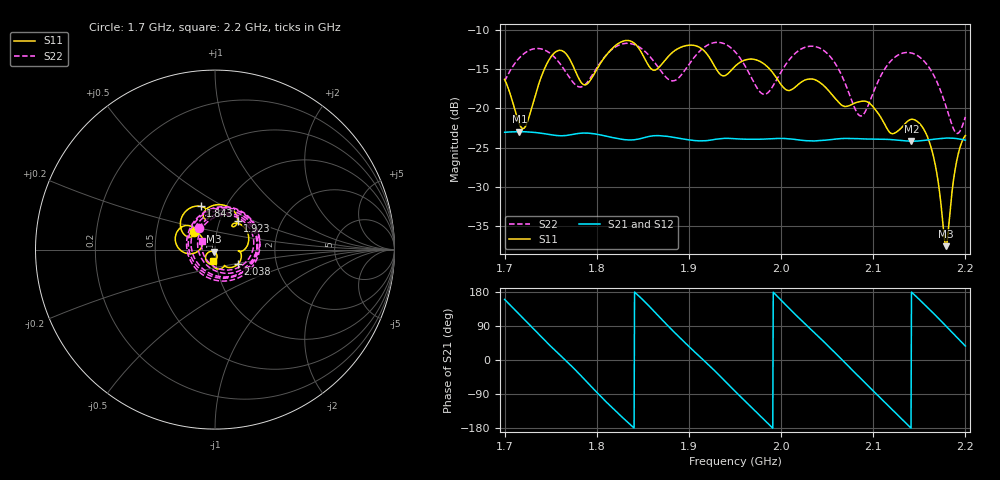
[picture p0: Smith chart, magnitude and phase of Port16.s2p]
# Hz S RI R 50
! CMT, CMT808U, 21440046, 21.4.3/4
! Date: 4/9/2026 1:53:13 AM
! Data: Format (Calibration Info)
! Freq	S11:Re/Im(F2)	S41:Re/Im(F2)	S14:Re/Im(F2)	S44:Re/Im(F2)
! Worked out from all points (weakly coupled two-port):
!   1001 points, 1.7 GHz to 2.2 GHz, reference 50 ohm
!   highest |S21| = -22.96 dB at 1.716 GHz (marker M1); lowest = -24.2 dB at 2.142 GHz (marker M2)
!   lowest |S11| = -37.5 dB at 2.179 GHz (marker M3), VSWR 1.03, Z = 49.5 - j1.22 ohm
!   |S11| at or under -10 dB: start of sweep to end of sweep
!   |S22| runs from -23.2 to -11.6 dB; largest |S21 - S12| = 0.001
!   S11 on the Smith chart (normalised r, x): 1.7 GHz: 0.78, +0.15; 1.843 GHz: 0.76, +0.39; 1.923 GHz: 1.21, +0.41; 2.038 GHz: 1.27, -0.21; 2.2 GHz: 0.97, -0.13
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1.7e9  -0.1182 0.097  -0.0662 0.0243  -0.0662 0.0234  -0.0888 0.1193
1.716e9  -0.0675 0.0425  -0.0359 0.0614  -0.0365 0.0607  0.0474 0.204
1.7555e9  -0.2215 0.058  0.0618 0.0269  0.0611 0.0275  0.1774 -0.1075
1.7835e9  -0.1104 0.0944  0.0508 -0.0476  0.0513 -0.0467  -0.1197 -0.067
1.815e9  -0.1927 0.1336  -0.0347 -0.0558  -0.0338 -0.0561  0.0258 0.2315
1.8425e9  -0.0796 0.2411  -0.0632 0.00445  -0.0631 0.00362  0.2506 0.026
1.867e9  -0.0582 0.1715  -0.0296 0.0603  -0.0303 0.0597  0.0459 -0.1754
1.893e9  -0.00738 0.2468  0.0394 0.0504  0.0386 0.0508  -0.1571 0.0557
1.9235e9  0.126 0.162  0.0599 -0.0192  0.06 -0.0183  0.1348 0.2198
1.95e9  0.1121 0.1472  0.00851 -0.0636  0.00942 -0.0633  0.2227 -0.0547
1.969e9  0.1775 0.1039  -0.0388 -0.0504  -0.0379 -0.0508  0.0255 -0.1498
1.9905e9  0.1699 0.0061  -0.0642 -0.00137  -0.064 -0.00228  -0.1334 0.0297
2.0335e9  0.1391 -0.0656  0.0128 0.0608  0.0119 0.0609  0.2092 0.1341
2.0385e9  0.1261 -0.0822  0.0247 0.0571  0.0238 0.0573  0.2306 0.0855
2.0645e9  0.0548 -0.0912  0.064 0.00533  0.0638 0.00624  0.1099 -0.1269
2.086e9  0.0374 -0.1041  0.043 -0.0476  0.0436 -0.0469  -0.078 -0.044
2.117e9  -0.0122 -0.0703  -0.0343 -0.0534  -0.0335 -0.0538  0.0355 0.1905
2.1415e9  -0.0284 -0.0804  -0.0619 0.000816  -0.0619 -0.000114  0.2096 0.0814
2.163e9  -0.0483 -0.028  -0.0398 0.0493  -0.0405 0.0486  0.148 -0.0897
2.179e9  -0.00514 -0.0123  0.000716 0.0648  -0.000246 0.0647  0.0103 -0.1022
2.19e9  0.0113 -0.0431  0.0307 0.0566  0.0299 0.057  -0.0596 -0.0362
2.2e9  -0.0124 -0.0661  0.0503 0.0377  0.0496 0.0384  -0.073 0.0496
